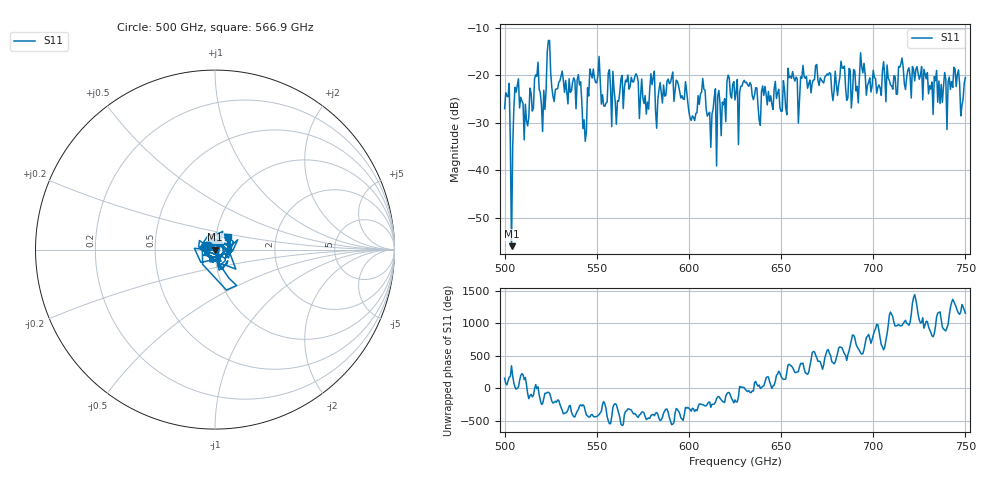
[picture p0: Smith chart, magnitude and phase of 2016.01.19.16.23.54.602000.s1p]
!Created with skrf (http://scikit-rf.org).
# GHz S RI R 50.0
!freq ReS11 ImS11
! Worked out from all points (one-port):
!   401 points, 500 GHz to 750 GHz, reference 50 ohm
!   lowest |S11| = -56.0 dB at 503.8 GHz (marker M1), VSWR 1.00, Z = 50.2 - j0.0354 ohm
!   |S11| at or under -10 dB: start of sweep to end of sweep
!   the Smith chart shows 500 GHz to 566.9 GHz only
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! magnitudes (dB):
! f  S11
! 500 GHz  -27.0
! 501.2 GHz  -24.3
! 503.8 GHz  -56.0
! 505 GHz  -27.1
! 506.2 GHz  -23.5
! 511.9 GHz  -29.6
! 517.5 GHz  -20.2
! 521.2 GHz  -23.1
! 523.8 GHz  -12.6
! 526.9 GHz  -25.5
! 531.2 GHz  -19.1
! 540.6 GHz  -22.0
! 543.1 GHz  -29.3
! 547.5 GHz  -20.5
! 553.8 GHz  -26.4
! 562.5 GHz  -23.5
! 593.8 GHz  -21.3
! 601.9 GHz  -28.5
! 607.5 GHz  -20.7
! 611.2 GHz  -27.8
! 625 GHz  -25.2
! 638.1 GHz  -29.5
! 656.2 GHz  -19.2
! 687.5 GHz  -18.9
! 694.4 GHz  -19.4
! 703.1 GHz  -22.0
! 718.8 GHz  -18.9
! 750 GHz  -20.4
